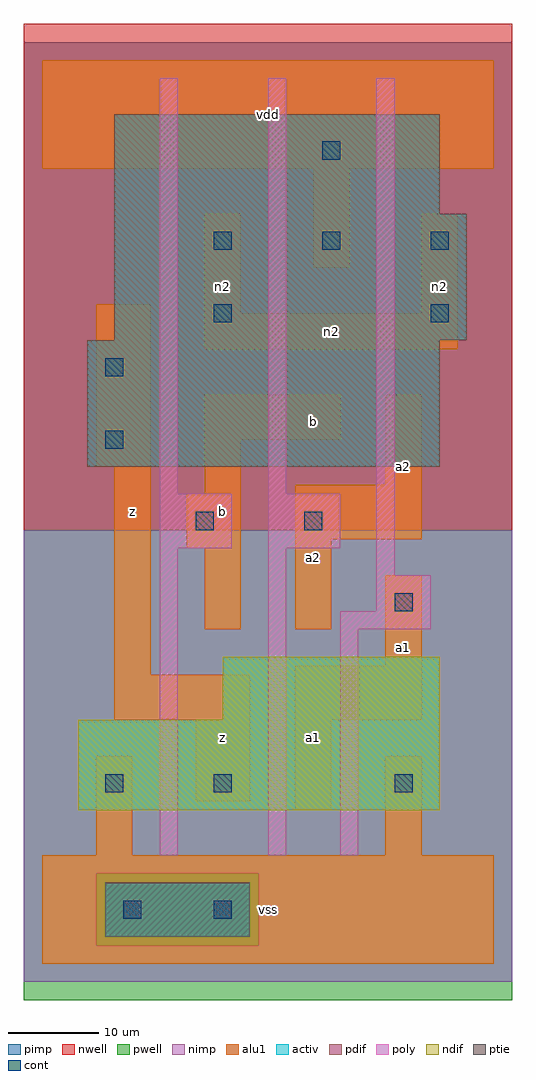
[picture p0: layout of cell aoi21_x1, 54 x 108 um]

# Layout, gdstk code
import gdstk
lib = gdstk.Library(unit=1e-6, precision=1e-09)
def R(c, l, rs):  # rectangles x0, y0, x1, y1
    for r in rs: c.add(gdstk.rectangle(r[:2], r[2:], *l))
def A(c, l, x, y, w, h, nx, ny, dx, dy):  # array of equal rectangles
    R(c, l, [(x+i*dx, y+j*dy, x+i*dx+w, y+j*dy+h) for i in range(nx) for j in range(ny)])
ndif = (3, 0)
pdif = (4, 0)
ptie = (6, 0)
cont = (25, 0)
pwell = (41, 0)
nwell = (42, 0)
activ = (43, 0)
pimp = (44, 0)
nimp = (45, 0)
poly = (46, 0)
alu1 = (49, 0)

aoi21_x1 = lib.new_cell('aoi21_x1')
R(aoi21_x1, ndif, [(4,17,44,27), (20,27,44,34)])
R(aoi21_x1, pdif, [(5,55,44,69), (8,69,47,83), (8,83,44,94)])
R(aoi21_x1, ptie, [(7,3,23,9)])
A(aoi21_x1, cont, 19, 79, 2, 2, 3, 1, 12, 0)
R(aoi21_x1, cont, [(9,5,11,7), (19,5,21,7), (7,19,9,21), (19,19,21,21), (39,19,41,21), (39,39,41,41), (17,48,19,50), (29,48,31,50), (7,57,9,59), (7,65,9,67), (19,71,21,73), (43,71,45,73), (31,89,33,91)])
R(aoi21_x1, pwell, [(-2,-4,52,48)])
R(aoi21_x1, nwell, [(-2,48,52,104)])
R(aoi21_x1, activ, [(7,3,23,9), (4,17,44,27), (20,27,44,34), (5,55,44,69), (8,69,47,83), (8,83,44,94)])
R(aoi21_x1, pimp, [(6,2,24,10), (-2,48,52,102)])
R(aoi21_x1, nimp, [(-2,-2,52,2), (-2,2,6,10), (24,2,52,10), (-2,10,52,48)])
R(aoi21_x1, poly, [(13,12,15,46), (25,12,27,46), (33,12,35,37), (33,37,43,39), (37,39,43,43), (37,43,39,98), (13,46,21,52), (25,46,33,52), (13,52,15,98), (25,52,27,98)])
R(aoi21_x1, alu1, [(0,0,50,12), (6,12,10,23), (38,12,42,23), (28,17,32,27), (17,18,23,27), (8,27,23,32), (28,27,42,33), (8,32,12,55), (38,33,42,43), (18,37,22,46), (28,37,32,47), (16,46,22,52), (28,47,42,53), (18,52,22,58), (38,53,42,63), (6,55,12,73), (18,58,33,63), (18,68,46,72), (18,72,22,83), (42,72,46,83), (30,77,34,88), (0,88,50,100)])
aoi21_x1.add(gdstk.Label('z', (20,25), layer=49, texttype=0))
aoi21_x1.add(gdstk.Label('b', (20,50), layer=49, texttype=0))
aoi21_x1.add(gdstk.Label('z', (10,50), layer=49, texttype=0))
aoi21_x1.add(gdstk.Label('n2', (20,75), layer=49, texttype=0))
aoi21_x1.add(gdstk.Label('vss', (25,6), layer=49, texttype=0))
aoi21_x1.add(gdstk.Label('a1', (30,25), layer=49, texttype=0))
aoi21_x1.add(gdstk.Label('a2', (30,45), layer=49, texttype=0))
aoi21_x1.add(gdstk.Label('b', (30,60), layer=49, texttype=0))
aoi21_x1.add(gdstk.Label('vdd', (25,94), layer=49, texttype=0))
aoi21_x1.add(gdstk.Label('a1', (40,35), layer=49, texttype=0))
aoi21_x1.add(gdstk.Label('a2', (40,55), layer=49, texttype=0))
aoi21_x1.add(gdstk.Label('n2', (32,70), layer=49, texttype=0))
aoi21_x1.add(gdstk.Label('n2', (44,75), layer=49, texttype=0))

lib.write_gds('aoi21_x1.gds')
